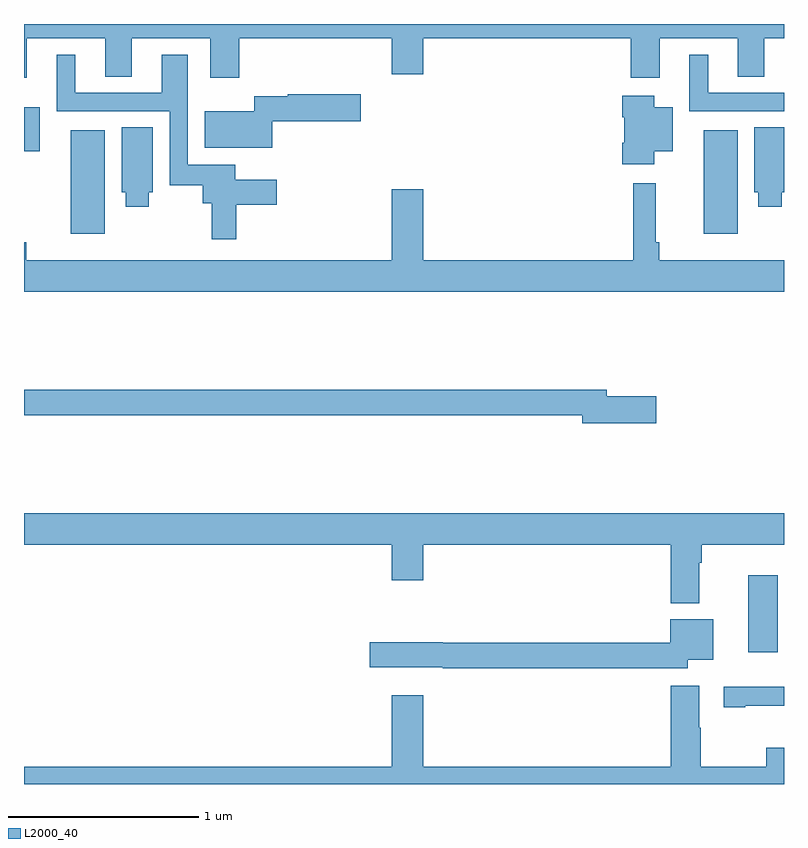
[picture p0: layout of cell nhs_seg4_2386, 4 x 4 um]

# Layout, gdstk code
import gdstk
lib = gdstk.Library(unit=1e-6, precision=1e-09)
def R(c, l, rs):  # rectangles x0, y0, x1, y1
    for r in rs: c.add(gdstk.rectangle(r[:2], r[2:], *l))
def P(c, l, *ps):  # polygons
    for p in ps: c.add(gdstk.Polygon(p, *l))
L2000_40 = (2000, 40)

nhs_seg4_2386 = lib.new_cell('nhs_seg4_2386')
R(nhs_seg4_2386, L2000_40, [(238.811,789.594,238.966,790), (235.247,791.795,235.426,792.34), (238.577,791.795,238.756,792.34), (235,792.23,235.084,792.463)])
P(nhs_seg4_2386, L2000_40, [(235.015,792.824),(235.427,792.824),(235.427,792.622),(235.567,792.622),(235.567,792.824),(235.979,792.824),(235.979,792.618),(236.132,792.618),(236.132,792.824),(236.936,792.824),(236.936,792.636),(237.1,792.636),(237.1,792.824),(238.193,792.824),(238.193,792.618),(238.345,792.618),(238.345,792.824),(238.757,792.824),(238.757,792.622),(238.897,792.622),(238.897,792.824),(239,792.824),(239,792.9),(235,792.9),(235,792.618),(235.015,792.618)],
  [(239,792.537),(238.6,792.537),(238.6,792.739),(238.502,792.739),(238.502,792.441),(239,792.441)],
  [(236.117,791.95),(236.329,791.95),(236.329,792.079),(236.111,792.079),(236.111,792.159),(235.863,792.159),(235.863,792.739),(235.724,792.739),(235.724,792.537),(235.27,792.537),(235.27,792.739),(235.172,792.739),(235.172,792.441),(235.767,792.441),(235.767,792.051),(235.94,792.051),(235.94,791.957),(235.989,791.957),(235.989,791.766),(236.117,791.766)],
  [(236.307,792.389),(236.773,792.389),(236.773,792.531),(236.388,792.531),(236.388,792.519),(236.211,792.519),(236.211,792.442),(235.952,792.442),(235.952,792.248),(236.307,792.248)],
  [(238.318,792.23),(238.414,792.23),(238.414,792.463),(238.318,792.463),(238.318,792.523),(238.148,792.523),(238.148,792.41),(238.16,792.41),(238.16,792.274),(238.148,792.274),(238.148,792.162),(238.318,792.162)],
  [(235.657,792.015),(235.678,792.015),(235.678,792.356),(235.514,792.356),(235.514,792.015),(235.535,792.015),(235.535,791.939),(235.657,791.939)],
  [(238.987,792.015),(239,792.015),(239,792.356),(238.844,792.356),(238.844,792.015),(238.865,792.015),(238.865,791.939),(238.987,791.939)],
  [(239,791.656),(238.343,791.656),(238.343,791.752),(238.326,791.752),(238.326,792.061),(238.207,792.061),(238.207,791.656),(237.1,791.656),(237.1,792.031),(236.936,792.031),(236.936,791.656),(235.013,791.656),(235.013,791.752),(235,791.752),(235,791.492),(239,791.492)],
  [(238.327,790.94),(238.066,790.94),(238.066,790.976),(235,790.976),(235,790.84),(237.938,790.84),(237.938,790.798),(238.327,790.798)],
  [(238.555,790.064),(238.568,790.064),(238.568,790.16),(239,790.16),(239,790.324),(235,790.324),(235,790.16),(236.936,790.16),(236.936,789.972),(237.1,789.972),(237.1,790.16),(238.403,790.16),(238.403,789.851),(238.555,789.851)],
  [(238.494,789.554),(238.627,789.554),(238.627,789.766),(238.4,789.766),(238.4,789.644),(237.204,789.644),(237.204,789.645),(236.82,789.645),(236.82,789.515),(237.204,789.515),(237.204,789.508),(238.494,789.508)],
  [(239,789.091),(238.906,789.091),(238.906,788.992),(238.563,788.992),(238.563,789.197),(238.555,789.197),(238.555,789.418),(238.403,789.418),(238.403,788.992),(237.1,788.992),(237.1,789.367),(236.936,789.367),(236.936,788.992),(235,788.992),(235,788.9),(239,788.9)],
  [(238.795,789.313),(239,789.313),(239,789.411),(238.958,789.411),(238.958,789.413),(238.683,789.413),(238.683,789.303),(238.795,789.303)])

lib.write_gds('nhs_seg4_2386.gds')
